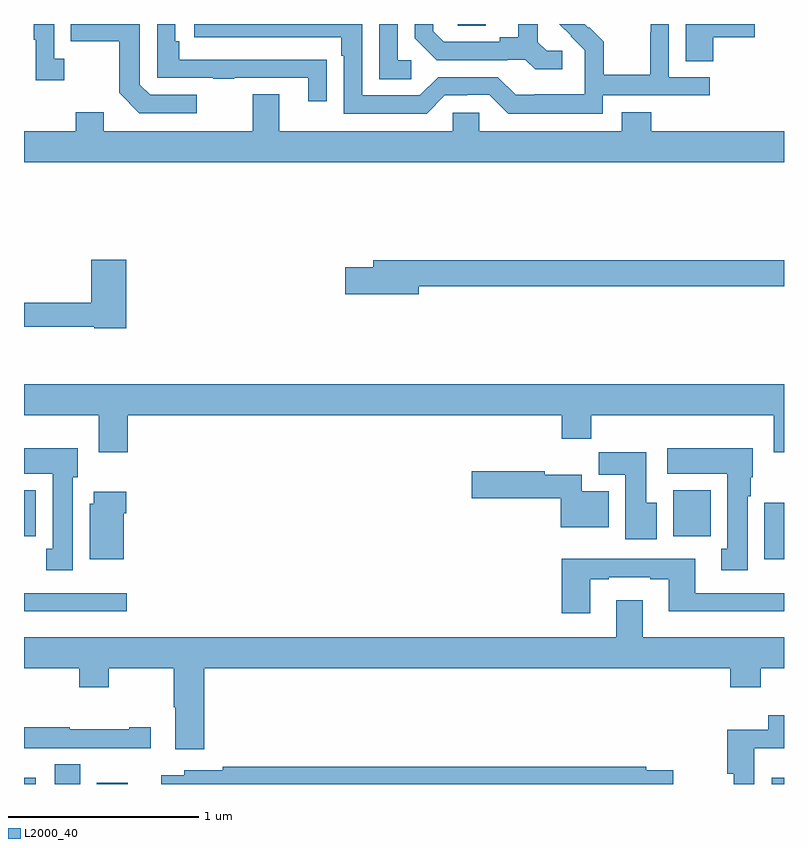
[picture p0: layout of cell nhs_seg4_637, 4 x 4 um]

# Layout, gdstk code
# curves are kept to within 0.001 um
import gdstk
lib = gdstk.Library(unit=1e-6, precision=1e-09)
def R(c, l, rs):  # rectangles x0, y0, x1, y1
    for r in rs: c.add(gdstk.rectangle(r[:2], r[2:], *l))
def P(c, l, *ps):  # polygons
    for p in ps: c.add(gdstk.Polygon(p, *l))
L2000_40 = (2000, 40)

nhs_seg4_637 = lib.new_cell('nhs_seg4_637')
R(nhs_seg4_637, L2000_40, [(143,774.9,143.062,774.934), (143.162,774.9,143.296,775.004), (143.384,774.9,143.545,774.907), (146.936,774.9,147,774.934), (143,775.808,143.542,775.905), (146.897,776.084,147,776.38), (143,776.204,143.062,776.446), (146.417,776.204,146.614,776.446), (145.284,778.891,145.429,778.9)])
P(nhs_seg4_637, L2000_40, [(146.627,778.829),(146.845,778.829),(146.845,778.9),(146.483,778.9),(146.483,778.705),(146.627,778.705)],
  [(146.046,778.524),(146.608,778.524),(146.608,778.62),(146.394,778.62),(146.394,778.9),(146.298,778.9),(146.298,778.856),(146.296,778.856),(146.296,778.633),(146.051,778.633),(146.051,778.807),(145.974,778.884),(145.971,778.881),(145.952,778.9),(145.816,778.9),(145.952,778.762),(145.952,778.665),(145.95,778.665),(145.95,778.531),(145.687,778.531),(145.687,778.527),(145.587,778.527),(145.494,778.62),(145.179,778.62),(145.083,778.524),(144.78,778.524),(144.78,778.9),(143.895,778.9),(143.895,778.83),(144.671,778.83),(144.671,778.733),(144.684,778.733),(144.684,778.428),(145.119,778.428),(145.215,778.524),(145.334,778.524),(145.334,778.527),(145.449,778.527),(145.549,778.427),(146.046,778.427)],
  [(144.593,778.712),(144.491,778.712),(144.491,778.713),(143.816,778.713),(143.816,778.81),(143.796,778.81),(143.796,778.9),(143.7,778.9),(143.7,778.617),(143.995,778.617),(143.995,778.612),(144.107,778.612),(144.107,778.617),(144.497,778.617),(144.497,778.494),(144.593,778.494)],
  [(145.039,778.71),(144.966,778.71),(144.966,778.9),(144.87,778.9),(144.87,778.609),(145.039,778.609)],
  [(145.834,778.758),(145.752,778.758),(145.705,778.805),(145.705,778.9),(145.601,778.9),(145.601,778.829),(145.505,778.829),(145.505,778.806),(145.21,778.806),(145.153,778.863),(145.153,778.9),(145.056,778.9),(145.056,778.826),(145.172,778.71),(145.544,778.71),(145.544,778.713),(145.638,778.713),(145.69,778.661),(145.834,778.661)],
  [(143.212,778.718),(143.16,778.718),(143.16,778.9),(143.052,778.9),(143.052,778.817),(143.063,778.817),(143.063,778.605),(143.212,778.605)],
  [(143.908,778.527),(143.664,778.527),(143.61,778.581),(143.61,778.9),(143.245,778.9),(143.245,778.81),(143.502,778.81),(143.502,778.537),(143.607,778.431),(143.908,778.431)],
  [(147,778.336),(146.3,778.336),(146.3,778.435),(146.147,778.435),(146.147,778.336),(145.395,778.336),(145.395,778.434),(145.257,778.434),(145.257,778.336),(144.343,778.336),(144.343,778.531),(144.203,778.531),(144.203,778.336),(143.419,778.336),(143.419,778.435),(143.272,778.435),(143.272,778.336),(143,778.336),(143,778.172),(147,778.172)],
  [(143.537,777.658),(143.354,777.658),(143.354,777.434),(143,777.434),(143,777.306),(143.37,777.306),(143.37,777.298),(143.537,777.298)],
  [(145.078,777.52),(147,777.52),(147,777.656),(144.839,777.656),(144.839,777.62),(144.69,777.62),(144.69,777.478),(145.078,777.478)],
  [(143.546,776.84),(145.829,776.84),(145.829,776.716),(145.985,776.716),(145.985,776.84),(146.945,776.84),(146.945,776.646),(147,776.646),(147,777.004),(143,777.004),(143,776.84),(143.393,776.84),(143.393,776.646),(143.546,776.646)],
  [(146.809,776.414),(146.824,776.414),(146.824,776.514),(146.836,776.514),(146.836,776.668),(146.385,776.668),(146.385,776.534),(146.702,776.534),(146.702,776.138),(146.669,776.138),(146.669,776.025),(146.809,776.025)],
  [(143.257,776.514),(143.284,776.514),(143.284,776.668),(143,776.668),(143,776.534),(143.15,776.534),(143.15,776.138),(143.117,776.138),(143.117,776.025),(143.257,776.025)],
  [(146.329,776.38),(146.275,776.38),(146.275,776.647),(146.026,776.647),(146.026,776.528),(146.165,776.528),(146.165,776.187),(146.329,776.187)],
  [(146.077,776.44),(145.936,776.44),(145.936,776.527),(145.74,776.527),(145.74,776.547),(145.356,776.547),(145.356,776.405),(145.826,776.405),(145.826,776.252),(146.077,776.252)],
  [(143.524,776.324),(143.537,776.324),(143.537,776.437),(143.366,776.437),(143.366,776.376),(143.345,776.376),(143.345,776.084),(143.524,776.084)],
  [(145.981,775.977),(146.077,775.977),(146.077,775.989),(146.297,775.989),(146.297,775.977),(146.393,775.977),(146.393,775.808),(147,775.808),(147,775.905),(146.533,775.905),(146.533,776.085),(146.069,776.085),(146.069,776.086),(145.829,776.086),(145.829,775.8),(145.981,775.8)],
  [(146.117,775.867),(146.117,775.672),(143,775.672),(143,775.508),(143.29,775.508),(143.29,775.409),(143.445,775.409),(143.445,775.508),(143.788,775.508),(143.788,775.304),(143.795,775.304),(143.795,775.083),(143.948,775.083),(143.948,775.508),(146.717,775.508),(146.717,775.409),(146.877,775.409),(146.877,775.508),(147,775.508),(147,775.672),(146.257,775.672),(146.257,775.867)],
  [(146.844,775.088),(147,775.088),(147,775.261),(146.918,775.261),(146.918,775.185),(146.702,775.185),(146.702,774.953),(146.736,774.953),(146.736,774.9),(146.844,774.9)],
  [(143.058,775.089),(143.392,775.089),(143.392,775.088),(143.668,775.088),(143.668,775.198),(143.555,775.198),(143.555,775.188),(143.24,775.188),(143.24,775.198),(143,775.198),(143,775.088),(143.058,775.088)],
  [(146.418,774.972),(146.276,774.972),(146.276,774.992),(144.046,774.992),(144.046,774.972),(143.844,774.972),(143.844,774.946),(143.723,774.946),(143.723,774.9),(146.418,774.9)])

lib.write_gds('nhs_seg4_637.gds')
